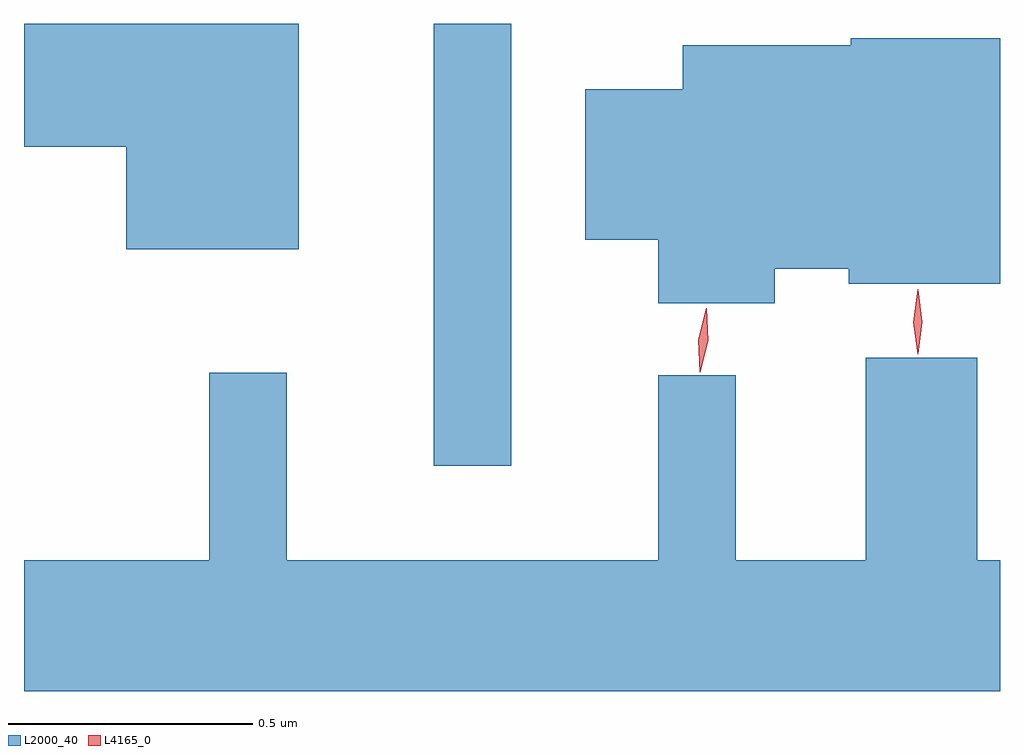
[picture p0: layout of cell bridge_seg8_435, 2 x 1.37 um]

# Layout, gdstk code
import gdstk
lib = gdstk.Library(unit=1e-6, precision=1e-09)
def R(c, l, rs):  # rectangles x0, y0, x1, y1
    for r in rs: c.add(gdstk.rectangle(r[:2], r[2:], *l))
def P(c, l, *ps):  # polygons
    for p in ps: c.add(gdstk.Polygon(p, *l))
L2000_40 = (2000, 40)
L4165_0 = (4165, 0)

bridge_seg8_435 = lib.new_cell('bridge_seg8_435')
R(bridge_seg8_435, L2000_40, [(935.566,1819.118,935.724,1820.023)])
P(bridge_seg8_435, L2000_40, [(935.289,1820.023),(934.726,1820.023),(934.726,1819.771),(934.936,1819.771),(934.936,1819.561),(935.289,1819.561)],
  [(936.264,1819.521),(936.416,1819.521),(936.416,1819.491),(936.726,1819.491),(936.726,1819.994),(936.42,1819.994),(936.42,1819.979),(936.076,1819.979),(936.076,1819.889),(935.876,1819.889),(935.876,1819.581),(936.026,1819.581),(936.026,1819.451),(936.264,1819.451)],
  [(936.726,1818.924),(936.679,1818.924),(936.679,1819.339),(936.451,1819.339),(936.451,1818.924),(936.184,1818.924),(936.184,1819.303),(936.026,1819.303),(936.026,1818.924),(935.264,1818.924),(935.264,1819.308),(935.106,1819.308),(935.106,1818.924),(934.726,1818.924),(934.726,1818.656),(936.726,1818.656)])
P(bridge_seg8_435, L4165_0, [(936.557,1819.346),(936.548,1819.412),(936.557,1819.479),(936.557,1819.479),(936.558,1819.479),(936.567,1819.412),(936.558,1819.346),(936.558,1819.346)],
  [(936.111,1819.309),(936.111,1819.309),(936.108,1819.376),(936.124,1819.44),(936.125,1819.44),(936.125,1819.44),(936.128,1819.374),(936.112,1819.309)])

lib.write_gds('bridge_seg8_435.gds')
